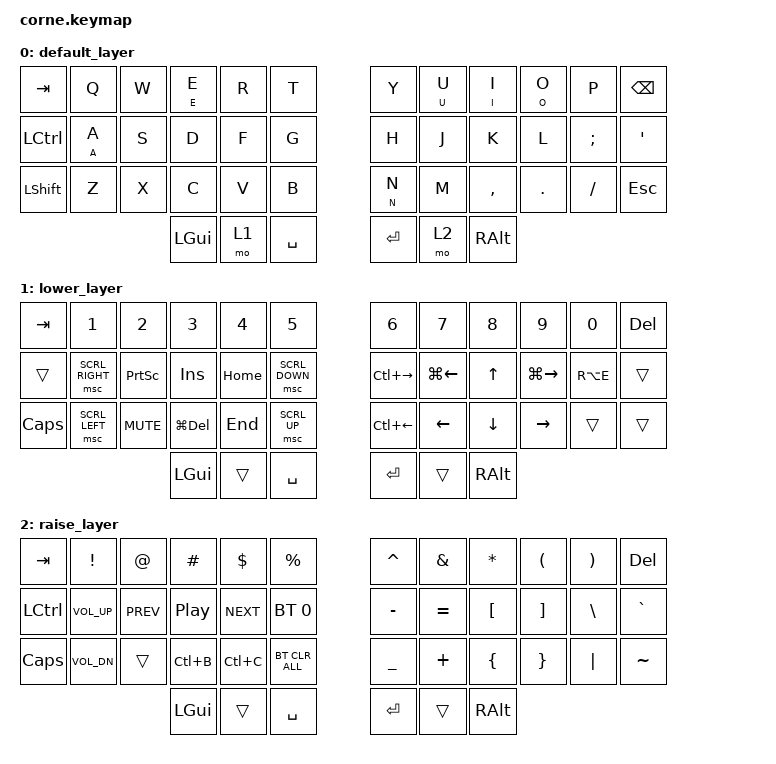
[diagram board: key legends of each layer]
/*
 * Copyright (c) 2020 The ZMK Contributors
 *
 * SPDX-License-Identifier: MIT
 */

#define ZMK_POINTING_DEFAULT_MOVE_VAL 700  // default: 600
#define ZMK_POINTING_DEFAULT_SCRL_VAL 15    // default: 10

#include <behaviors.dtsi>
#include <dt-bindings/zmk/bt.h>
#include <dt-bindings/zmk/keys.h>
#include <dt-bindings/zmk/pointing.h>

/ {
    combos {
        compatible = "zmk,combos";

        parentheses {
            bindings = <&par_macro>;
            key-positions = <10 39>;
        };

        bracket {
            bindings = <&bracket_macro>;
            key-positions = <39 27>;
        };

        brace {
            bindings = <&brace_macro>;
            key-positions = <21 39>;
        };

        function_combo {
            bindings = <&function_macro>;
            key-positions = <16 39>;
        };

        arrow_combo {
            bindings = <&arrow_macro>;
            key-positions = <13 39>;
        };

        try_catch_combo {
            bindings = <&none>;
            key-positions = <5 39>;
        };
    };
};

/ {
    macros {
        function_macro: function_macro {
            compatible = "zmk,behavior-macro";
            #binding-cells = <0>;
            bindings =
                <&macro_tap>,
                <&kp F &kp U &kp N &kp C &kp T &kp I &kp O &kp N &kp SPACE &kp LPAR &kp SPACE &kp RPAR &kp SPACE &kp LBRC &kp RIGHT_BRACE &kp LEFT &kp ENTER &kp UP_ARROW &kp END &kp LEFT_ARROW &kp LEFT_ARROW &kp LEFT &kp LEFT_ARROW &kp LEFT &kp LEFT_ARROW &kp SPACE>;

            label = "FUNCTION_MACRO";
        };

        arrow_macro: arrow_macro {
            compatible = "zmk,behavior-macro";
            #binding-cells = <0>;
            bindings = <&macro_tap>, <&kp EQUAL &kp GT &kp SPACE>;

            label = "ARROW_MACRO";
        };

        par_macro: par_macro {
            compatible = "zmk,behavior-macro";
            #binding-cells = <0>;
            bindings = <&macro_tap>, <&kp LPAR &kp RPAR &kp LEFT_ARROW>;

            label = "PAR_MACRO";
        };

        bracket_macro: cor_macro {
            compatible = "zmk,behavior-macro";
            #binding-cells = <0>;
            bindings =
                <&macro_tap>,
                <&kp LEFT_BRACKET &kp RIGHT_BRACKET &kp LEFT_ARROW>;

            label = "COR_MACRO";
        };

        brace_macro: brace_macro {
            compatible = "zmk,behavior-macro";
            #binding-cells = <0>;
            bindings =
                <&macro_tap>,
                <&kp LEFT_BRACE &kp RIGHT_BRACE &kp LEFT_ARROW>;

            label = "BRACE_MACRO";
        };

        try_catch_macro: try_catch_macro {
            compatible = "zmk,behavior-macro";
            #binding-cells = <0>;
            bindings =
                <&macro_tap>,
                <&kp T &kp R &kp Y &kp LBRC &kp ENTER &kp RIGHT_BRACE &kp C &kp A &kp T &kp C &kp H &kp SPACE &kp LPAR &kp SPACE &kp RPAR &kp SPACE &kp LBRC &kp RIGHT_BRACE &kp ENTER &kp UP_ARROW &kp UP_ARROW &kp END &kp LEFT_ARROW &kp SPACE &kp SPACE &kp LEFT_ARROW>;

            label = "TRY_CATCH_MACRO";
        };

        acute: acute {
            compatible = "zmk,behavior-macro-one-param";
            #binding-cells = <1>;
            bindings =
                <&macro_tap>,
                <&kp RA(E) &macro_param_1to1>,
                <&macro_tap>,
                <&kp MACRO_PLACEHOLDER>;
        };

        tilde: tilde {
            compatible = "zmk,behavior-macro-one-param";
            #binding-cells = <1>;
            bindings =
                <&macro_tap>,
                <&kp RA(N) &macro_param_1to1>,
                <&macro_tap>,
                <&kp MACRO_PLACEHOLDER>;
        };
    };

    behaviors {
        // Hold-tap: tap = letter (instant), hold 200ms = accented letter.
        // tap-preferred + quick-tap-ms keeps fast typing & Cmd+letter combos working.

        ht_acute: ht_acute {
            compatible = "zmk,behavior-hold-tap";
            #binding-cells = <2>;
            tapping-term-ms = <200>;
            quick-tap-ms = <175>;
            flavor = "tap-preferred";
            bindings = <&acute>, <&kp>;
        };

        ht_tilde: ht_tilde {
            compatible = "zmk,behavior-hold-tap";
            #binding-cells = <2>;
            tapping-term-ms = <200>;
            quick-tap-ms = <175>;
            flavor = "tap-preferred";
            bindings = <&tilde>, <&kp>;
        };

        // No es una tecla: es el canal por el que la mitad izquierda le pasa el
        // estado de la animacion "naves" a la derecha (ver
        // src/display/animations/naves/naves_sync.c). No se usa en ningun layer.
        // El nombre del nodo viaja como texto entre mitades: maximo 8 letras.
        // Va aqui y no en un .overlay porque ZMK solo busca corne_left.overlay
        // y corne_right.overlay por separado; el keymap lo comparten las dos.
        animsync: animsync {
            compatible = "zmk,behavior-anim-sync";
            #binding-cells = <2>;
        };
    };

    keymap {
        compatible = "zmk,keymap";

        default_layer {
            // -----------------------------------------------------------------------------------------
            // |  TAB |  Q  |  W  |  E  |  R  |  T  |   |  Y  |  U   |  I  |  O  |  P  | BKSP |
            // | CTRL |  A  |  S  |  D  |  F  |  G  |   |  H  |  J   |  K  |  L  |  ;  |  '   |
            // | SHFT |  Z  |  X  |  C  |  V  |  B  |   |  N  |  M   |  ,  |  .  |  /  | ESC  |
            //                    | GUI | LWR | SPC |   | ENT | RSE  | ALT |

            bindings = <
&kp TAB    &kp Q          &kp W  &ht_acute E E  &kp R  &kp T        &kp Y          &ht_acute U U  &ht_acute I I  &ht_acute O O  &kp P     &kp BACKSPACE
&kp LCTRL  &ht_acute A A  &kp S  &kp D          &kp F  &kp G        &kp H          &kp J          &kp K          &kp L          &kp SEMI  &kp SQT
&kp LSHFT  &kp Z          &kp X  &kp C          &kp V  &kp B        &ht_tilde N N  &kp M          &kp COMMA      &kp DOT        &kp FSLH  &kp ESC
                                 &kp LGUI       &mo 1  &kp SPACE    &kp RET        &mo 2          &kp RALT
            >;
        };

        lower_layer {
            // -----------------------------------------------------------------------------------------
            // |  TAB |  1  |  2  |  3  |  4  |  5  |   |  6  |  7  |  8  |  9  |  0  | BKSP |
            // | BTCLR| BT1 | BT2 | BT3 | BT4 | BT5 |   | LFT | DWN |  UP | RGT |     |      |
            // | SHFT |     |     |     |     |     |   |     |     |     |     |     |      |
            //                    | GUI |     | SPC |   | ENT |     | ALT |

            bindings = <
&kp TAB       &kp N1           &kp N2           &kp N3       &kp N4    &kp N5            &kp N6         &kp N7              &kp N8          &kp N9         &kp N0     &kp DELETE
&trans        &msc SCRL_RIGHT  &kp PRINTSCREEN  &kp INSERT   &kp HOME  &msc SCRL_DOWN    &kp LC(RIGHT)  &kp LG(LEFT_ARROW)  &kp UP_ARROW    &kp LG(RIGHT)  &kp RA(E)  &trans
&kp CAPSLOCK  &msc SCRL_LEFT   &kp C_MUTE       &kp LG(DEL)  &kp END   &msc SCRL_UP      &kp LC(LEFT)   &kp LEFT            &kp DOWN_ARROW  &kp RIGHT      &trans     &trans
                                                &kp LGUI     &trans    &kp SPACE         &kp RET        &trans              &kp RALT
            >;
        };

        raise_layer {
            // -----------------------------------------------------------------------------------------
            // |  TAB |  !  |  @  |  #  |  $  |  %  |   |  ^  |  &  |  *  |  (  |  )  | BKSP |
            // | CTRL |     |     |     |     |     |   |  -  |  =  |  [  |  ]  |  \  |  `   |
            // | SHFT |     |     |     |     |     |   |  _  |  +  |  {  |  }  | "|" |  ~   |
            //                    | GUI |     | SPC |   | ENT |     | ALT |

            bindings = <
&kp TAB       &kp EXCL         &kp AT      &kp HASH          &kp DLLR    &kp PRCNT         &kp CARET  &kp AMPS   &kp ASTRK  &kp LPAR  &kp RPAR  &kp DELETE
&kp LCTRL     &kp C_VOLUME_UP  &kp C_PREV  &kp C_PLAY_PAUSE  &kp C_NEXT  &bt BT_SEL 0      &kp MINUS  &kp EQUAL  &kp LBKT   &kp RBKT  &kp BSLH  &kp GRAVE
&kp CAPSLOCK  &kp C_VOL_DN     &trans      &kp LC(B)         &kp LC(C)   &bt BT_CLR_ALL    &kp UNDER  &kp PLUS   &kp LBRC   &kp RBRC  &kp PIPE  &kp TILDE
                                           &kp LGUI          &trans      &kp SPACE         &kp RET    &trans     &kp RALT
            >;
        };
    };
};
